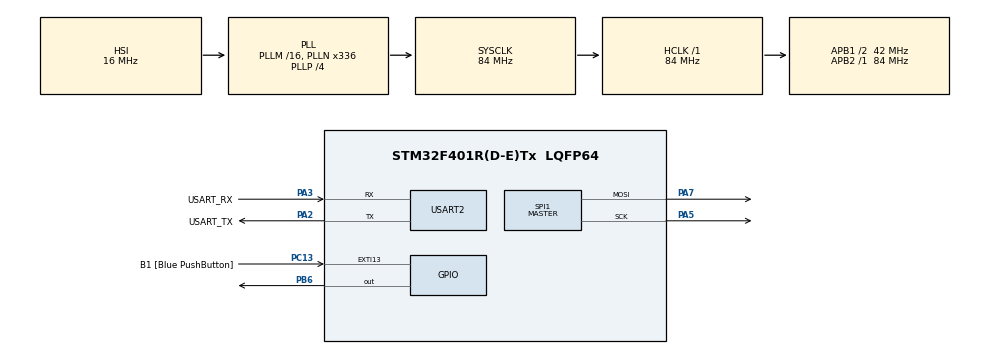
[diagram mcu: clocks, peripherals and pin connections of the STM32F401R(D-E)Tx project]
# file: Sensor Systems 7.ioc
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Mcu.Family=STM32F4
Mcu.Name=STM32F401R(D-E)Tx
Mcu.Package=LQFP64
NVIC.PriorityGroup=NVIC_PRIORITYGROUP_0
NVIC.SPI1_IRQn=true\:0\:0\:false\:false\:true\:true\:true\:true
NVIC.TIM1_UP_TIM10_IRQn=true\:0\:0\:false\:false\:true\:true\:true\:true
PA13.GPIO_Label=TMS
PA13.Mode=Serial_Wire
PA13.Signal=SYS_JTMS-SWDIO
PA14.GPIO_Label=TCK
PA14.Mode=Serial_Wire
PA14.Signal=SYS_JTCK-SWCLK
PA2.GPIO_Label=USART_TX
PA2.GPIO_Mode=GPIO_MODE_AF_PP
PA2.GPIO_PuPd=GPIO_NOPULL
PA2.GPIO_Speed=GPIO_SPEED_FREQ_LOW
PA2.Mode=Asynchronous
PA2.Signal=USART2_TX
PA3.GPIO_Label=USART_RX
PA3.GPIO_Mode=GPIO_MODE_AF_PP
PA3.GPIO_PuPd=GPIO_NOPULL
PA3.GPIO_Speed=GPIO_SPEED_FREQ_LOW
PA3.Mode=Asynchronous
PA3.Signal=USART2_RX
PA5.Mode=TX_Only_Simplex_Unidirect_Master
PA5.Signal=SPI1_SCK
PA6.Signal=SPI1_MISO
PA7.Mode=TX_Only_Simplex_Unidirect_Master
PA7.Signal=SPI1_MOSI
PB3.GPIO_Label=SWO
PB3.Signal=SYS_JTDO-SWO
PB6.Signal=GPIO_Output
PC13-ANTI_TAMP.GPIO_Label=B1 [Blue PushButton]
PC13-ANTI_TAMP.GPIO_ModeDefaultEXTI=GPIO_MODE_IT_FALLING
PC13-ANTI_TAMP.GPIO_PuPd=GPIO_NOPULL
PC13-ANTI_TAMP.Signal=GPXTI13
PC14-OSC32_IN.Mode=LSE-External-Oscillator
PC14-OSC32_IN.Signal=RCC_OSC32_IN
PC15-OSC32_OUT.Mode=LSE-External-Oscillator
PC15-OSC32_OUT.Signal=RCC_OSC32_OUT
PH0\ -\ OSC_IN.Mode=HSE-External-Clock-Source
PH0\ -\ OSC_IN.Signal=RCC_OSC_IN
PH1\ -\ OSC_OUT.Mode=HSE-External-Clock-Source
PH1\ -\ OSC_OUT.Signal=RCC_OSC_OUT
ProjectManager.HeapSize=0x200
ProjectManager.StackSize=0x400
ProjectManager.TargetToolchain=STM32CubeIDE
RCC.48MHZClocksFreq_Value=48000000
RCC.AHBFreq_Value=84000000
RCC.APB1CLKDivider=RCC_HCLK_DIV2
RCC.APB1Freq_Value=42000000
RCC.APB1TimFreq_Value=84000000
RCC.APB2Freq_Value=84000000
RCC.APB2TimFreq_Value=84000000
RCC.CortexFreq_Value=84000000
RCC.HCLKFreq_Value=84000000
RCC.HSE_VALUE=8000000
RCC.HSI_VALUE=16000000
RCC.PLLN=336
RCC.PLLP=RCC_PLLP_DIV4
RCC.PLLQ=7
RCC.SYSCLKFreq_VALUE=84000000
RCC.SYSCLKSource=RCC_SYSCLKSOURCE_PLLCLK
RCC.VCOOutputFreq_Value=336000000
SPI1.BaudRatePrescaler=SPI_BAUDRATEPRESCALER_4
SPI1.Direction=SPI_DIRECTION_2LINES
SPI1.Mode=SPI_MODE_MASTER
SPI1.VirtualType=VM_MASTER
TIM10.Period=4000-1
TIM10.Prescaler=84-1
USART2.VirtualMode=VM_ASYNC
VP_TIM10_VS_ClockSourceINT.Mode=Enable_Timer
board=NUCLEO-F401RE

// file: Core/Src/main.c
/* USER CODE BEGIN Header */
/**
  ******************************************************************************
  * @file           : main.c
  * @brief          : Main program body
  ******************************************************************************
  * @attention
  *
  * Copyright (c) 2023 STMicroelectronics.
  * All rights reserved.
  *
  * This software is licensed under terms that can be found in the LICENSE file
  * in the root directory of this software component.
  * If no LICENSE file comes with this software, it is provided AS-IS.
  *
  ******************************************************************************
  */
/* USER CODE END Header */
#include "main.h"

/* USER CODE BEGIN PD */
#define RCLK_PIN GPIOB, GPIO_PIN_6
/* USER CODE END PD */

SPI_HandleTypeDef hspi1;

TIM_HandleTypeDef htim10;

UART_HandleTypeDef huart2;

/* USER CODE BEGIN PV */
int column_index=0;
uint8_t matrix[5][2]={
		{31,16},
		{36,8},
		{68,4},
		{36,2},
		{31,1}
};
uint8_t matrix_A[5][2]={
		{31,16},
		{36,8},
		{68,4},
		{36,2},
		{31,1}
};
uint8_t matrix_B[5][2]={
		{127,16},
		{73,8},
		{73,4},
		{73,2},
		{54,1}
};
uint8_t matrix_C[5][2]={
		{62,16},
		{65,8},
		{65,4},
		{65,2},
		{34,1}
};
/* USER CODE END PV */

void SystemClock_Config(void);
static void MX_GPIO_Init(void);
static void MX_USART2_UART_Init(void);
static void MX_SPI1_Init(void);
static void MX_TIM10_Init(void);
/* USER CODE BEGIN PFP */
void HAL_TIM_PeriodElapsedCallback(TIM_HandleTypeDef *htim){
	if(htim==&htim10){
		HAL_SPI_Transmit(&hspi1, matrix[column_index], 2, 10);
		HAL_GPIO_WritePin(RCLK_PIN, GPIO_PIN_SET);
		if(++column_index>4)
			column_index=0;
		HAL_GPIO_WritePin(RCLK_PIN, GPIO_PIN_RESET);
	}
}
/* USER CODE END PFP */

int main(void)
{

  /* MCU Configuration--------------------------------------------------------*/

  /* Reset of all peripherals, Initializes the Flash interface and the Systick. */
  HAL_Init();

  /* Configure the system clock */
  SystemClock_Config();

  /* Initialize all configured peripherals */
  MX_GPIO_Init();
  MX_USART2_UART_Init();
  MX_SPI1_Init();
  MX_TIM10_Init();
  /* USER CODE BEGIN 2 */
  HAL_TIM_Base_Start_IT(&htim10);
  /* USER CODE END 2 */

  /* Infinite loop */
  while (1)
  {

  }
}

void SystemClock_Config(void)
{
  RCC_OscInitTypeDef RCC_OscInitStruct = {0};
  RCC_ClkInitTypeDef RCC_ClkInitStruct = {0};

  /** Configure the main internal regulator output voltage
  */
  __HAL_RCC_PWR_CLK_ENABLE();
  __HAL_PWR_VOLTAGESCALING_CONFIG(PWR_REGULATOR_VOLTAGE_SCALE2);

  /** Initializes the RCC Oscillators according to the specified parameters
  * in the RCC_OscInitTypeDef structure.
  */
  RCC_OscInitStruct.OscillatorType = RCC_OSCILLATORTYPE_HSI;
  RCC_OscInitStruct.HSIState = RCC_HSI_ON;
  RCC_OscInitStruct.HSICalibrationValue = RCC_HSICALIBRATION_DEFAULT;
  RCC_OscInitStruct.PLL.PLLState = RCC_PLL_ON;
  RCC_OscInitStruct.PLL.PLLSource = RCC_PLLSOURCE_HSI;
  RCC_OscInitStruct.PLL.PLLM = 16;
  RCC_OscInitStruct.PLL.PLLN = 336;
  RCC_OscInitStruct.PLL.PLLP = RCC_PLLP_DIV4;
  RCC_OscInitStruct.PLL.PLLQ = 7;
  if (HAL_RCC_OscConfig(&RCC_OscInitStruct) != HAL_OK)
  {
    Error_Handler();
  }

  /** Initializes the CPU, AHB and APB buses clocks
  */
  RCC_ClkInitStruct.ClockType = RCC_CLOCKTYPE_HCLK|RCC_CLOCKTYPE_SYSCLK
                              |RCC_CLOCKTYPE_PCLK1|RCC_CLOCKTYPE_PCLK2;
  RCC_ClkInitStruct.SYSCLKSource = RCC_SYSCLKSOURCE_PLLCLK;
  RCC_ClkInitStruct.AHBCLKDivider = RCC_SYSCLK_DIV1;
  RCC_ClkInitStruct.APB1CLKDivider = RCC_HCLK_DIV2;
  RCC_ClkInitStruct.APB2CLKDivider = RCC_HCLK_DIV1;

  if (HAL_RCC_ClockConfig(&RCC_ClkInitStruct, FLASH_LATENCY_2) != HAL_OK)
  {
    Error_Handler();
  }
}

static void MX_SPI1_Init(void)
{

  /* SPI1 parameter configuration*/
  hspi1.Instance = SPI1;
  hspi1.Init.Mode = SPI_MODE_MASTER;
  hspi1.Init.Direction = SPI_DIRECTION_2LINES;
  hspi1.Init.DataSize = SPI_DATASIZE_8BIT;
  hspi1.Init.CLKPolarity = SPI_POLARITY_LOW;
  hspi1.Init.CLKPhase = SPI_PHASE_1EDGE;
  hspi1.Init.NSS = SPI_NSS_SOFT;
  hspi1.Init.BaudRatePrescaler = SPI_BAUDRATEPRESCALER_4;
  hspi1.Init.FirstBit = SPI_FIRSTBIT_MSB;
  hspi1.Init.TIMode = SPI_TIMODE_DISABLE;
  hspi1.Init.CRCCalculation = SPI_CRCCALCULATION_DISABLE;
  hspi1.Init.CRCPolynomial = 10;
  if (HAL_SPI_Init(&hspi1) != HAL_OK)
  {
    Error_Handler();
  }

}

static void MX_TIM10_Init(void)
{

  htim10.Instance = TIM10;
  htim10.Init.Prescaler = 84-1;
  htim10.Init.CounterMode = TIM_COUNTERMODE_UP;
  htim10.Init.Period = 4000-1;
  htim10.Init.ClockDivision = TIM_CLOCKDIVISION_DIV1;
  htim10.Init.AutoReloadPreload = TIM_AUTORELOAD_PRELOAD_DISABLE;
  if (HAL_TIM_Base_Init(&htim10) != HAL_OK)
  {
    Error_Handler();
  }

}

static void MX_USART2_UART_Init(void)
{

  huart2.Instance = USART2;
  huart2.Init.BaudRate = 115200;
  huart2.Init.WordLength = UART_WORDLENGTH_8B;
  huart2.Init.StopBits = UART_STOPBITS_1;
  huart2.Init.Parity = UART_PARITY_NONE;
  huart2.Init.Mode = UART_MODE_TX_RX;
  huart2.Init.HwFlowCtl = UART_HWCONTROL_NONE;
  huart2.Init.OverSampling = UART_OVERSAMPLING_16;
  if (HAL_UART_Init(&huart2) != HAL_OK)
  {
    Error_Handler();
  }

}

static void MX_GPIO_Init(void)
{
  GPIO_InitTypeDef GPIO_InitStruct = {0};

  /* GPIO Ports Clock Enable */
  __HAL_RCC_GPIOC_CLK_ENABLE();
  __HAL_RCC_GPIOH_CLK_ENABLE();
  __HAL_RCC_GPIOA_CLK_ENABLE();
  __HAL_RCC_GPIOB_CLK_ENABLE();

  /*Configure GPIO pin Output Level */
  HAL_GPIO_WritePin(GPIOB, GPIO_PIN_6, GPIO_PIN_RESET);

  /*Configure GPIO pin : B1_Pin */
  GPIO_InitStruct.Pin = B1_Pin;
  GPIO_InitStruct.Mode = GPIO_MODE_IT_FALLING;
  GPIO_InitStruct.Pull = GPIO_NOPULL;
  HAL_GPIO_Init(B1_GPIO_Port, &GPIO_InitStruct);

  /*Configure GPIO pin : PB6 */
  GPIO_InitStruct.Pin = GPIO_PIN_6;
  GPIO_InitStruct.Mode = GPIO_MODE_OUTPUT_PP;
  GPIO_InitStruct.Pull = GPIO_NOPULL;
  GPIO_InitStruct.Speed = GPIO_SPEED_FREQ_LOW;
  HAL_GPIO_Init(GPIOB, &GPIO_InitStruct);

}

void Error_Handler(void)
{
  __disable_irq();
  while (1)
  {
  }
}
